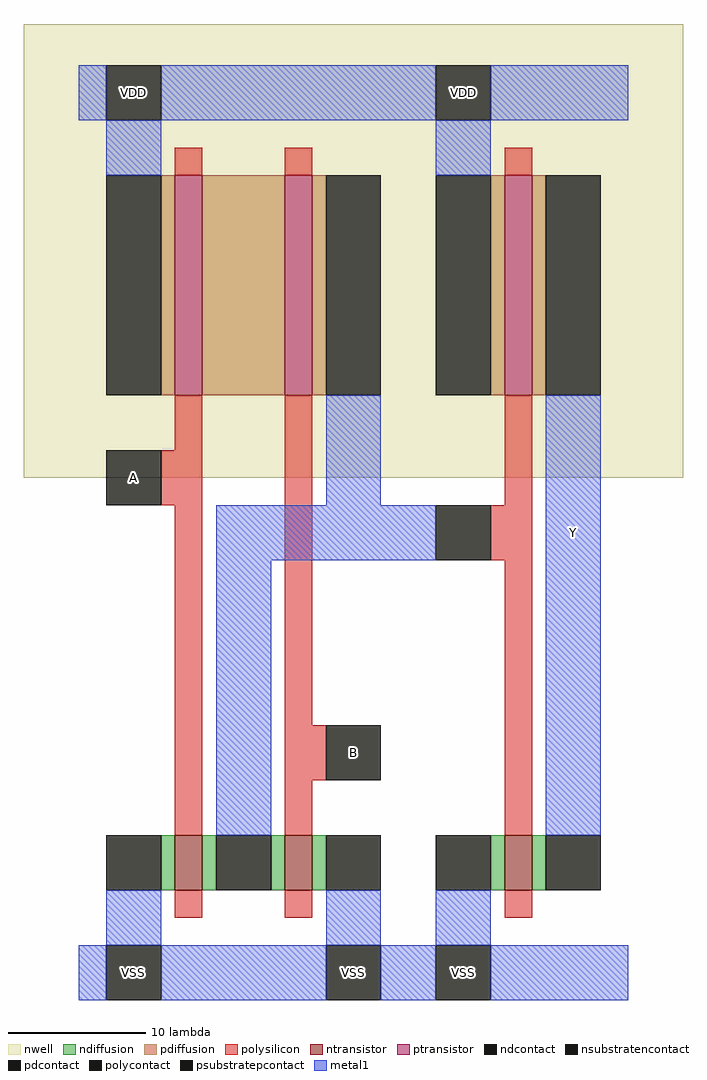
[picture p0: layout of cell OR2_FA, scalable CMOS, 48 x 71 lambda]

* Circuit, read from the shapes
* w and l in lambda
.subckt OR2_FA A B VDD VSS Y
M1 n1 A VSS VSS nfet w=4 l=2
M2 VSS B n1 VSS nfet w=4 l=2
M3 Y n1 VSS VSS nfet w=4 l=2
M4 n2 A VDD VDD pfet w=16 l=2
M5 n1 B n2 VDD pfet w=16 l=2
M6 Y n1 VDD VDD pfet w=16 l=2
.ends

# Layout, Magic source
magic
tech scmos
<< nwell >>
rect -4 38 44 71
<< ntransistor >>
rect 7 8 9 12
rect 15 8 17 12
rect 31 8 33 12
<< ptransistor >>
rect 7 44 9 60
rect 15 44 17 60
rect 31 44 33 60
<< ndiffusion >>
rect 6 8 7 12
rect 9 8 10 12
rect 14 8 15 12
rect 17 8 18 12
rect 30 8 31 12
rect 33 8 34 12
<< pdiffusion >>
rect 6 44 7 60
rect 9 44 15 60
rect 17 44 18 60
rect 30 44 31 60
rect 33 44 34 60
<< ndcontact >>
rect 2 8 6 12
rect 10 8 14 12
rect 18 8 22 12
rect 26 8 30 12
rect 34 8 38 12
<< pdcontact >>
rect 2 44 6 60
rect 18 44 22 60
rect 26 44 30 60
rect 34 44 38 60
<< psubstratepcontact >>
rect 2 0 6 4
rect 18 0 22 4
rect 26 0 30 4
<< nsubstratencontact >>
rect 2 64 6 68
rect 26 64 30 68
<< polysilicon >>
rect 7 60 9 62
rect 15 60 17 62
rect 31 60 33 62
rect 7 40 9 44
rect 6 36 9 40
rect 7 12 9 36
rect 15 20 17 44
rect 31 36 33 44
rect 30 32 33 36
rect 15 16 18 20
rect 15 12 17 16
rect 31 12 33 32
rect 7 6 9 8
rect 15 6 17 8
rect 31 6 33 8
<< polycontact >>
rect 2 36 6 40
rect 26 32 30 36
rect 18 16 22 20
<< metal1 >>
rect 0 64 2 68
rect 6 64 26 68
rect 30 64 40 68
rect 2 60 6 64
rect 26 60 30 64
rect 18 36 22 44
rect 10 32 26 36
rect 10 12 14 32
rect 34 12 38 44
rect 2 4 6 8
rect 18 4 22 8
rect 26 4 30 8
rect 0 0 2 4
rect 6 0 18 4
rect 22 0 26 4
rect 30 0 40 4
<< labels >>
rlabel polycontact 20 18 20 18 7 B
rlabel psubstratepcontact 4 2 4 2 2 VSS
rlabel psubstratepcontact 20 2 20 2 8 VSS
rlabel psubstratepcontact 28 2 28 2 1 VSS
rlabel nsubstratencontact 28 66 28 66 1 VDD
rlabel metal1 36 34 36 34 1 Y
rlabel polycontact 4 38 4 38 3 A
rlabel nsubstratencontact 4 66 4 66 4 VDD
<< end >>
